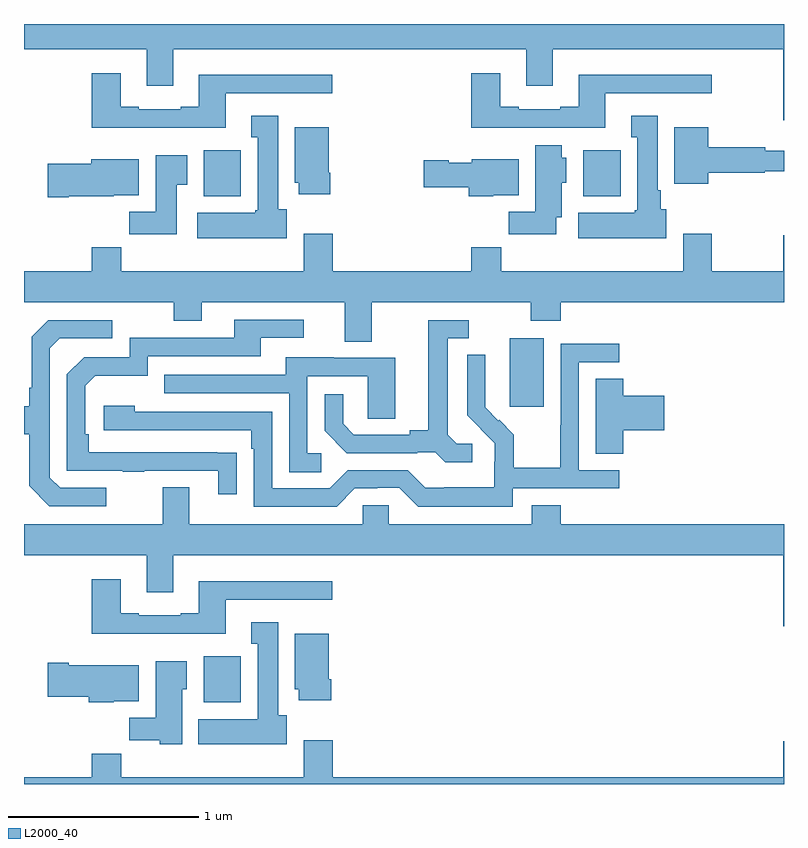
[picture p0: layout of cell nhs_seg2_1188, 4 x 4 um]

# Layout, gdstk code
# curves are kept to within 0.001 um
import gdstk
lib = gdstk.Library(unit=1e-6, precision=1e-09)
def R(c, l, rs):  # rectangles x0, y0, x1, y1
    for r in rs: c.add(gdstk.rectangle(r[:2], r[2:], *l))
def P(c, l, *ps):  # polygons
    for p in ps: c.add(gdstk.Polygon(p, *l))
L2000_40 = (2000, 40)

nhs_seg2_1188 = lib.new_cell('nhs_seg2_1188')
R(nhs_seg2_1188, L2000_40, [(173.945,612.23,174.142,612.472), (175.556,613.785,175.735,614.146), (173.945,614.894,174.142,615.136), (175.943,614.894,176.14,615.136)])
P(nhs_seg2_1188, L2000_40, [(177,615.8),(173,615.8),(173,615.668),(173.645,615.668),(173.645,615.474),(173.785,615.474),(173.785,615.668),(175.643,615.668),(175.643,615.474),(175.783,615.474),(175.783,615.668),(176.996,615.668),(176.996,615.294),(177,615.294)],
  [(174.061,615.435),(174.622,615.435),(174.622,615.532),(173.921,615.532),(173.921,615.364),(173.825,615.364),(173.825,615.351),(173.605,615.351),(173.605,615.364),(173.509,615.364),(173.509,615.541),(173.357,615.541),(173.357,615.254),(174.061,615.254)],
  [(175.599,615.255),(176.059,615.255),(176.059,615.435),(176.62,615.435),(176.62,615.532),(175.919,615.532),(175.919,615.364),(175.823,615.364),(175.823,615.351),(175.603,615.351),(175.603,615.364),(175.507,615.364),(175.507,615.541),(175.355,615.541),(175.355,615.254),(175.599,615.254)],
  [(176.38,614.826),(176.35,614.826),(176.35,614.926),(176.335,614.926),(176.335,615.316),(176.195,615.316),(176.195,615.203),(176.228,615.203),(176.228,614.82),(176.215,614.82),(176.215,614.806),(175.916,614.806),(175.916,614.672),(176.38,614.672)],
  [(174.382,614.826),(174.337,614.826),(174.337,615.316),(174.197,615.316),(174.197,615.203),(174.23,615.203),(174.23,614.82),(174.217,614.82),(174.217,614.806),(173.913,614.806),(173.913,614.672),(174.382,614.672)],
  [(174.612,615.016),(174.604,615.016),(174.604,615.256),(174.425,615.256),(174.425,614.964),(174.446,614.964),(174.446,614.904),(174.612,614.904)],
  [(176.602,615.016),(176.898,615.016),(176.898,615.024),(177,615.024),(177,615.133),(176.9,615.133),(176.9,615.152),(176.602,615.152),(176.602,615.256),(176.423,615.256),(176.423,614.96),(176.602,614.96)],
  [(175.801,614.783),(175.831,614.783),(175.831,614.964),(175.855,614.964),(175.855,615.096),(175.831,615.096),(175.831,615.163),(175.691,615.163),(175.691,614.812),(175.552,614.812),(175.552,614.694),(175.801,614.694)],
  [(173.803,614.953),(173.86,614.953),(173.86,615.109),(173.693,615.109),(173.693,614.812),(173.554,614.812),(173.554,614.694),(173.803,614.694)],
  [(175.47,614.9),(175.603,614.9),(175.603,615.088),(175.356,615.088),(175.356,615.07),(175.236,615.07),(175.236,615.083),(175.104,615.083),(175.104,614.941),(175.34,614.941),(175.34,614.894),(175.47,614.894)],
  [(173.236,614.894),(173.472,614.894),(173.472,614.9),(173.605,614.9),(173.605,615.088),(173.354,615.088),(173.354,615.065),(173.124,615.065),(173.124,614.887),(173.236,614.887)],
  [(174.829,614.336),(175.666,614.336),(175.666,614.237),(175.826,614.237),(175.826,614.336),(177,614.336),(177,614.689),(176.996,614.689),(176.996,614.5),(176.619,614.5),(176.619,614.695),(176.471,614.695),(176.471,614.5),(175.511,614.5),(175.511,614.624),(175.355,614.624),(175.355,614.5),(174.626,614.5),(174.626,614.695),(174.473,614.695),(174.473,614.5),(173.513,614.5),(173.513,614.624),(173.357,614.624),(173.357,614.5),(173,614.5),(173,614.336),(173.788,614.336),(173.788,614.237),(173.935,614.237),(173.935,614.336),(174.689,614.336),(174.689,614.128),(174.829,614.128)],
  [(174.119,613.544),(173.342,613.545),(173.342,613.642),(173.322,613.642),(173.322,613.896),(173.375,613.949),(173.652,613.949),(173.652,614.052),(174.247,614.052),(174.247,614.148),(174.472,614.148),(174.472,614.244),(174.107,614.244),(174.107,614.148),(173.556,614.148),(173.556,614.046),(173.316,614.046),(173.226,613.956),(173.226,613.449),(173.521,613.449),(173.521,613.444),(173.633,613.444),(173.633,613.449),(174.023,613.449),(174.023,613.326),(174.119,613.326)],
  [(175.36,613.59),(175.278,613.59),(175.231,613.637),(175.231,614.145),(175.342,614.145),(175.342,614.241),(175.127,614.241),(175.127,613.661),(175.031,613.661),(175.031,613.638),(174.736,613.638),(174.679,613.695),(174.679,613.852),(174.582,613.852),(174.582,613.658),(174.698,613.542),(175.07,613.542),(175.07,613.545),(175.164,613.545),(175.216,613.493),(175.36,613.493)],
  [(173.434,613.359),(173.19,613.359),(173.136,613.413),(173.136,614.094),(173.187,614.145),(173.464,614.145),(173.464,614.241),(173.127,614.241),(173.04,614.154),(173.04,613.885),(173.028,613.885),(173.028,613.789),(173,613.789),(173,613.642),(173.028,613.642),(173.028,613.369),(173.133,613.263),(173.434,613.263)],
  [(175.572,613.356),(176.134,613.356),(176.134,613.452),(175.92,613.452),(175.92,614.019),(176.134,614.019),(176.134,614.118),(175.824,614.118),(175.824,613.688),(175.822,613.688),(175.822,613.465),(175.577,613.465),(175.577,613.639),(175.5,613.716),(175.497,613.713),(175.427,613.784),(175.428,614.06),(175.332,614.06),(175.332,613.742),(175.478,613.594),(175.478,613.497),(175.476,613.497),(175.476,613.363),(175.213,613.363),(175.213,613.359),(175.113,613.359),(175.02,613.452),(174.705,613.452),(174.609,613.356),(174.306,613.356),(174.306,613.758),(173.582,613.758),(173.582,613.792),(173.421,613.792),(173.421,613.662),(174.197,613.662),(174.197,613.565),(174.21,613.565),(174.21,613.26),(174.645,613.26),(174.741,613.356),(174.86,613.356),(174.86,613.359),(174.975,613.359),(175.075,613.259),(175.572,613.259)],
  [(174.565,613.542),(174.492,613.542),(174.492,613.947),(174.81,613.947),(174.81,613.723),(174.955,613.723),(174.955,614.043),(174.631,614.043),(174.631,614.047),(174.377,614.047),(174.377,613.953),(173.737,613.953),(173.737,613.857),(174.396,613.857),(174.396,613.441),(174.565,613.441)],
  [(176.153,613.661),(176.371,613.661),(176.371,613.844),(176.153,613.844),(176.153,613.934),(176.009,613.934),(176.009,613.537),(176.153,613.537)],
  [(177,613.168),(175.826,613.168),(175.826,613.267),(175.673,613.267),(175.673,613.168),(174.921,613.168),(174.921,613.266),(174.783,613.266),(174.783,613.168),(173.869,613.168),(173.869,613.363),(173.729,613.363),(173.729,613.168),(173,613.168),(173,613.004),(173.645,613.004),(173.645,612.81),(173.785,612.81),(173.785,613.004),(176.996,613.004),(176.996,612.63),(177,612.63)],
  [(174.061,612.771),(174.622,612.771),(174.622,612.868),(173.921,612.868),(173.921,612.7),(173.825,612.7),(173.825,612.687),(173.605,612.687),(173.605,612.7),(173.509,612.7),(173.509,612.877),(173.357,612.877),(173.357,612.59),(174.061,612.59)],
  [(174.382,612.162),(174.337,612.162),(174.337,612.652),(174.197,612.652),(174.197,612.539),(174.23,612.539),(174.23,612.142),(173.918,612.142),(173.918,612.008),(174.382,612.008)],
  [(174.617,612.352),(174.604,612.352),(174.604,612.592),(174.425,612.592),(174.425,612.3),(174.446,612.3),(174.446,612.24),(174.617,612.24)],
  [(173.833,612.3),(173.857,612.3),(173.857,612.445),(173.693,612.445),(173.693,612.148),(173.554,612.148),(173.554,612.03),(173.715,612.03),(173.715,612.008),(173.833,612.008)],
  [(173.472,612.236),(173.605,612.236),(173.605,612.424),(173.236,612.424),(173.236,612.437),(173.124,612.437),(173.124,612.259),(173.342,612.259),(173.342,612.23),(173.472,612.23)],
  [(177,612.025),(176.996,612.025),(176.996,611.836),(174.626,611.836),(174.626,612.031),(174.473,612.031),(174.473,611.836),(173.513,611.836),(173.513,611.96),(173.357,611.96),(173.357,611.836),(173,611.836),(173,611.8),(177,611.8)])

lib.write_gds('nhs_seg2_1188.gds')
